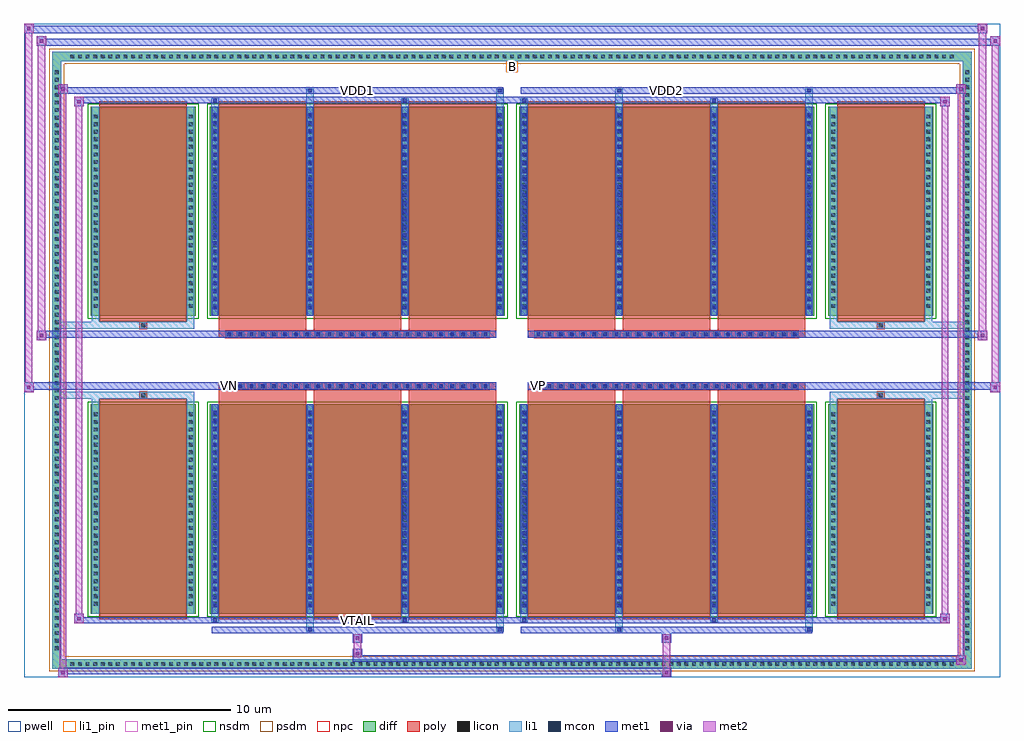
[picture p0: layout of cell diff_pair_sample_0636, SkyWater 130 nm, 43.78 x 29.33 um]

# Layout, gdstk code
import gdstk
lib = gdstk.Library(unit=1e-6, precision=5e-09)
def R(c, l, rs):  # rectangles x0, y0, x1, y1
    for r in rs: c.add(gdstk.rectangle(r[:2], r[2:], *l))
def A(c, l, x, y, w, h, nx, ny, dx, dy):  # array of equal rectangles
    R(c, l, [(x+i*dx, y+j*dy, x+i*dx+w, y+j*dy+h) for i in range(nx) for j in range(ny)])
def P(c, l, *ps):  # polygons
    for p in ps: c.add(gdstk.Polygon(p, *l))
pwell = (64, 44)
diff = (65, 20)
poly = (66, 20)
licon = (66, 44)
li1_pin = (67, 16)
li1 = (67, 20)
mcon = (67, 44)
met1_pin = (68, 16)
met1 = (68, 20)
via = (68, 44)
met2 = (69, 20)
nsdm = (93, 44)
psdm = (94, 20)
npc = (95, 20)

diff_pair_sample_0636 = lib.new_cell('diff_pair_sample_0636')
R(diff_pair_sample_0636, pwell, [(-21.89,-14.23,21.89,15.1), (-19.21,-12.42,-0.01,-0.8), (0.01,-12.42,19.21,-0.8), (-19.21,0.8,-0.01,12.42), (0.01,0.8,19.21,12.42)])
A(diff_pair_sample_0636, diff, -19.925, -13.83, 0.41, 0.41, 117, 2, 0.34, 27.25)
A(diff_pair_sample_0636, diff, -20.62, -13.125, 0.41, 0.41, 1, 77, 0, 0.34)
A(diff_pair_sample_0636, diff, 20.21, -13.125, 0.41, 0.41, 1, 77, 0, 0.34)
R(diff_pair_sample_0636, diff, [(-19.925,-13.83,19.925,-13.42), (-20.62,-13.125,-20.21,13.125), (20.21,-13.125,20.62,13.125), (-18.9,-11.375,-14.19,-1.985), (-13.55,-11.375,-0.32,-1.985), (0.32,-11.375,13.55,-1.985), (14.19,-11.375,18.9,-1.985), (-18.9,1.985,-14.19,11.375), (-13.55,1.985,-0.32,11.375), (0.32,1.985,13.55,11.375), (14.19,1.985,18.9,11.375), (-19.925,13.42,19.925,13.83)])
P(diff_pair_sample_0636, diff, [(20.62,13.83),(-20.62,13.83),(-20.62,-13.42),(-20.21,-13.42),(-20.21,13.42),(20.21,13.42),(20.21,-13.42),(-20.21,-13.42),(-20.62,-13.42),(-20.62,-13.83),(20.62,-13.83)])
A(diff_pair_sample_0636, poly, -13.16, -11.625, 3.93, 9.89, 3, 2, 4.26, 13.36)
A(diff_pair_sample_0636, poly, 0.71, -11.625, 3.93, 9.89, 3, 2, 4.26, 13.36)
A(diff_pair_sample_0636, poly, -13.16, -1.735, 3.93, 0.405, 3, 2, 4.26, 3.065)
A(diff_pair_sample_0636, poly, 0.71, -1.735, 3.93, 0.405, 3, 2, 4.26, 3.065)
A(diff_pair_sample_0636, poly, -12.85, -1.33, 0.33, 0.33, 24, 2, 0.5, 2.33)
A(diff_pair_sample_0636, poly, 1.02, -1.33, 0.33, 0.33, 24, 2, 0.5, 2.33)
R(diff_pair_sample_0636, poly, [(-18.51,-11.625,-14.58,-1.735), (14.58,-11.625,18.51,-1.735), (-16.71,-1.735,-16.38,-1.405), (-16.71,-1.735,-16.38,-1.405), (16.38,-1.735,16.71,-1.405), (16.38,-1.735,16.71,-1.405), (-13.16,-1.33,-0.71,-1), (0.71,-1.33,13.16,-1), (-13.16,1,-0.71,1.33), (0.71,1,13.16,1.33), (-16.71,1.405,-16.38,1.735), (-16.71,1.405,-16.38,1.735), (16.38,1.405,16.71,1.735), (16.38,1.405,16.71,1.735), (-18.51,1.735,-14.58,11.625), (14.58,1.735,18.51,11.625)])
A(diff_pair_sample_0636, licon, -19.805, -13.71, 0.17, 0.17, 117, 2, 0.34, 27.25)
A(diff_pair_sample_0636, licon, -20.5, -13.005, 0.17, 0.17, 1, 77, 0, 0.34)
A(diff_pair_sample_0636, licon, 20.33, -13.005, 0.17, 0.17, 1, 77, 0, 0.34)
A(diff_pair_sample_0636, licon, -18.76, -11.015, 0.17, 0.17, 1, 26, 0, 0.34)
A(diff_pair_sample_0636, licon, -14.5, -11.015, 0.17, 0.17, 1, 26, 0, 0.34)
A(diff_pair_sample_0636, licon, -13.41, -11.015, 0.17, 0.17, 4, 26, 4.26, 0.34)
A(diff_pair_sample_0636, licon, 0.46, -11.015, 0.17, 0.17, 4, 26, 4.26, 0.34)
A(diff_pair_sample_0636, licon, 14.33, -11.015, 0.17, 0.17, 1, 26, 0, 0.34)
A(diff_pair_sample_0636, licon, 18.59, -11.015, 0.17, 0.17, 1, 26, 0, 0.34)
A(diff_pair_sample_0636, licon, -12.77, -1.25, 0.17, 0.17, 24, 2, 0.5, 2.33)
A(diff_pair_sample_0636, licon, 1.1, -1.25, 0.17, 0.17, 24, 2, 0.5, 2.33)
A(diff_pair_sample_0636, licon, -18.76, 2.345, 0.17, 0.17, 1, 26, 0, 0.34)
A(diff_pair_sample_0636, licon, -14.5, 2.345, 0.17, 0.17, 1, 26, 0, 0.34)
A(diff_pair_sample_0636, licon, -13.41, 2.345, 0.17, 0.17, 4, 26, 4.26, 0.34)
A(diff_pair_sample_0636, licon, 0.46, 2.345, 0.17, 0.17, 4, 26, 4.26, 0.34)
A(diff_pair_sample_0636, licon, 14.33, 2.345, 0.17, 0.17, 1, 26, 0, 0.34)
A(diff_pair_sample_0636, licon, 18.59, 2.345, 0.17, 0.17, 1, 26, 0, 0.34)
R(diff_pair_sample_0636, licon, [(-16.63,-1.655,-16.46,-1.485), (16.46,-1.655,16.63,-1.485), (-16.63,1.485,-16.46,1.655), (16.46,1.485,16.63,1.655)])
R(diff_pair_sample_0636, li1_pin, [(-0.25,12.92,0.25,13.42)])
A(diff_pair_sample_0636, li1, -19.885, -13.79, 0.33, 0.33, 117, 2, 0.34, 27.25)
A(diff_pair_sample_0636, li1, -20.58, -13.085, 0.33, 0.33, 1, 77, 0, 0.34)
A(diff_pair_sample_0636, li1, 20.25, -13.085, 0.33, 0.33, 1, 77, 0, 0.34)
A(diff_pair_sample_0636, li1, -13.49, -11.375, 0.33, 9.39, 4, 2, 4.26, 13.36)
A(diff_pair_sample_0636, li1, 0.38, -11.375, 0.33, 9.39, 4, 2, 4.26, 13.36)
A(diff_pair_sample_0636, li1, -18.84, -11.095, 0.33, 0.33, 1, 26, 0, 0.34)
A(diff_pair_sample_0636, li1, -14.58, -11.095, 0.33, 0.33, 1, 26, 0, 0.34)
A(diff_pair_sample_0636, li1, -13.49, -11.095, 0.33, 0.33, 4, 26, 4.26, 0.34)
A(diff_pair_sample_0636, li1, 0.38, -11.095, 0.33, 0.33, 4, 26, 4.26, 0.34)
A(diff_pair_sample_0636, li1, 14.25, -11.095, 0.33, 0.33, 1, 26, 0, 0.34)
A(diff_pair_sample_0636, li1, 18.51, -11.095, 0.33, 0.33, 1, 26, 0, 0.34)
A(diff_pair_sample_0636, li1, -13.41, -11.085, 0.17, 0.17, 4, 25, 4.26, 0.36)
A(diff_pair_sample_0636, li1, -13.41, -11.085, 0.17, 8.81, 4, 2, 4.26, 13.36)
A(diff_pair_sample_0636, li1, 0.46, -11.085, 0.17, 0.17, 4, 25, 4.26, 0.36)
A(diff_pair_sample_0636, li1, 0.46, -11.085, 0.17, 8.81, 4, 2, 4.26, 13.36)
A(diff_pair_sample_0636, li1, -12.85, -1.33, 0.33, 0.33, 24, 2, 0.5, 2.33)
A(diff_pair_sample_0636, li1, 1.02, -1.33, 0.33, 0.33, 24, 2, 0.5, 2.33)
A(diff_pair_sample_0636, li1, -18.84, 2.265, 0.33, 0.33, 1, 26, 0, 0.34)
A(diff_pair_sample_0636, li1, -14.58, 2.265, 0.33, 0.33, 1, 26, 0, 0.34)
A(diff_pair_sample_0636, li1, -13.49, 2.265, 0.33, 0.33, 4, 26, 4.26, 0.34)
A(diff_pair_sample_0636, li1, 0.38, 2.265, 0.33, 0.33, 4, 26, 4.26, 0.34)
A(diff_pair_sample_0636, li1, 14.25, 2.265, 0.33, 0.33, 1, 26, 0, 0.34)
A(diff_pair_sample_0636, li1, 18.51, 2.265, 0.33, 0.33, 1, 26, 0, 0.34)
A(diff_pair_sample_0636, li1, -13.41, 2.275, 0.17, 0.17, 4, 25, 4.26, 0.36)
A(diff_pair_sample_0636, li1, 0.46, 2.275, 0.17, 0.17, 4, 25, 4.26, 0.36)
R(diff_pair_sample_0636, li1, [(-20.62,-13.83,-20.21,-13.42), (-20.62,-13.83,-20.21,-13.42), (-20.21,-13.83,20.21,-13.42), (20.21,-13.83,20.62,-13.42), (20.21,-13.83,20.62,-13.42), (-20.62,-13.42,-20.21,13.42), (20.21,-13.42,20.62,13.42), (-9.23,-12.18,-8.9,-11.375), (-9.15,-12.18,-8.98,-12.01), (-0.71,-12.18,-0.38,-11.375), (-0.63,-12.18,-0.46,-12.01), (4.64,-12.18,4.97,-11.375), (4.72,-12.18,4.89,-12.01), (13.16,-12.18,13.49,-11.375), (13.24,-12.18,13.41,-12.01), (-13.49,-11.75,-13.16,-11.375), (-13.41,-11.75,-13.24,-11.58), (-4.97,-11.75,-4.64,-11.375), (-4.89,-11.75,-4.72,-11.58), (0.38,-11.75,0.71,-11.375), (0.46,-11.75,0.63,-11.58), (8.9,-11.75,9.23,-11.375), (8.98,-11.75,9.15,-11.58), (-18.84,-11.375,-18.51,-1.985), (-14.58,-11.375,-14.25,-1.985), (14.25,-11.375,14.58,-1.985), (18.51,-11.375,18.84,-1.985), (-18.84,-1.985,-18.51,-1.405), (-14.58,-1.985,-14.25,-1.405), (14.25,-1.985,14.58,-1.405), (18.51,-1.985,18.84,-1.405), (-20.62,-1.735,-16.71,-1.405), (-18.84,-1.735,-16.71,-1.405), (-16.71,-1.735,-16.38,-1.405), (-16.38,-1.735,-14.25,-1.405), (14.25,-1.735,16.38,-1.405), (16.38,-1.735,16.71,-1.405), (16.38,-1.735,20.62,-1.405), (16.71,-1.735,18.84,-1.405), (-20.62,1.405,-16.71,1.735), (-18.84,1.405,-16.71,1.735), (-18.84,1.405,-18.51,1.985), (-16.71,1.405,-16.38,1.735), (-16.38,1.405,-14.25,1.735), (-14.58,1.405,-14.25,1.985), (14.25,1.405,16.38,1.735), (14.25,1.405,14.58,1.985), (16.38,1.405,16.71,1.735), (16.38,1.405,20.62,1.735), (16.71,1.405,18.84,1.735), (18.51,1.405,18.84,1.985), (-18.84,1.985,-18.51,11.375), (-14.58,1.985,-14.25,11.375), (14.25,1.985,14.58,11.375), (18.51,1.985,18.84,11.375), (-13.49,11.375,-13.16,11.75), (-9.23,11.375,-8.9,12.18), (-4.97,11.375,-4.64,11.75), (-0.71,11.375,-0.38,12.18), (0.38,11.375,0.71,11.75), (4.64,11.375,4.97,12.18), (8.9,11.375,9.23,11.75), (13.16,11.375,13.49,12.18), (-13.41,11.58,-13.24,11.75), (-4.89,11.58,-4.72,11.75), (0.46,11.58,0.63,11.75), (8.98,11.58,9.15,11.75), (-9.15,12.01,-8.98,12.18), (-0.63,12.01,-0.46,12.18), (4.72,12.01,4.89,12.18), (13.24,12.01,13.41,12.18), (-20.62,13.42,-20.21,13.83), (-20.62,13.42,-20.21,13.83), (-20.21,13.42,20.21,13.83), (20.21,13.42,20.62,13.83), (20.21,13.42,20.62,13.83)])
A(diff_pair_sample_0636, mcon, -13.41, -11.085, 0.17, 0.17, 4, 25, 4.26, 0.36)
A(diff_pair_sample_0636, mcon, 0.46, -11.085, 0.17, 0.17, 4, 25, 4.26, 0.36)
A(diff_pair_sample_0636, mcon, -12.77, -1.25, 0.17, 0.17, 24, 2, 0.5, 2.33)
A(diff_pair_sample_0636, mcon, 1.1, -1.25, 0.17, 0.17, 24, 2, 0.5, 2.33)
A(diff_pair_sample_0636, mcon, -13.41, 2.275, 0.17, 0.17, 4, 25, 4.26, 0.36)
A(diff_pair_sample_0636, mcon, 0.46, 2.275, 0.17, 0.17, 4, 25, 4.26, 0.36)
R(diff_pair_sample_0636, mcon, [(-9.15,-12.18,-8.98,-12.01), (-0.63,-12.18,-0.46,-12.01), (4.72,-12.18,4.89,-12.01), (13.24,-12.18,13.41,-12.01), (-13.41,-11.75,-13.24,-11.58), (-4.89,-11.75,-4.72,-11.58), (0.46,-11.75,0.63,-11.58), (8.98,-11.75,9.15,-11.58), (-13.41,11.58,-13.24,11.75), (-4.89,11.58,-4.72,11.75), (0.46,11.58,0.63,11.75), (8.98,11.58,9.15,11.75), (-9.15,12.01,-8.98,12.18), (-0.63,12.01,-0.46,12.18), (4.72,12.01,4.89,12.18), (13.24,12.01,13.41,12.18)])
R(diff_pair_sample_0636, met1_pin, [(-7.07,-11.79,-6.8,-11.52), (-12.82,-1.29,-12.55,-1.02), (1.05,-1.29,1.32,-1.02), (-7.07,11.97,-6.8,12.24), (6.8,11.97,7.07,12.24)])
A(diff_pair_sample_0636, met1, -13.47, -11.375, 0.29, 9.39, 4, 2, 4.26, 13.36)
A(diff_pair_sample_0636, met1, 0.4, -11.375, 0.29, 9.39, 4, 2, 4.26, 13.36)
A(diff_pair_sample_0636, met1, -13.47, -11.145, 0.29, 0.29, 4, 25, 4.26, 0.36)
A(diff_pair_sample_0636, met1, 0.4, -11.145, 0.29, 0.29, 4, 25, 4.26, 0.36)
A(diff_pair_sample_0636, met1, -12.83, -1.31, 0.29, 0.29, 24, 2, 0.5, 2.33)
A(diff_pair_sample_0636, met1, 1.04, -1.31, 0.29, 0.29, 24, 2, 0.5, 2.33)
A(diff_pair_sample_0636, met1, -13.47, 2.215, 0.29, 0.29, 4, 25, 4.26, 0.36)
A(diff_pair_sample_0636, met1, 0.4, 2.215, 0.29, 0.29, 4, 25, 4.26, 0.36)
R(diff_pair_sample_0636, met1, [(-20.35,-14.23,-19.92,-13.8), (6.72,-14.23,7.15,-13.8), (-20.35,-14.09,7.15,-13.8), (19.92,-13.66,20.35,-13.23), (-7.15,-13.52,20.35,-13.23), (-7.15,-13.38,-6.72,-12.95), (-7.15,-12.67,-6.72,-12.24), (6.72,-12.67,7.15,-12.24), (-13.47,-12.24,-0.4,-11.95), (-9.21,-12.24,-8.92,-11.95), (-0.69,-12.24,-0.4,-11.95), (0.4,-12.24,13.47,-11.95), (4.66,-12.24,4.95,-11.95), (13.18,-12.24,13.47,-11.95), (-19.64,-11.81,-19.21,-11.38), (-19.64,-11.81,-13.47,-11.52), (-13.47,-11.81,-13.18,-11.52), (-13.47,-11.81,-0.4,-11.52), (-4.95,-11.81,-4.66,-11.52), (-0.4,-11.81,0.4,-11.52), (0.4,-11.81,0.69,-11.52), (0.4,-11.81,13.47,-11.52), (8.92,-11.81,9.21,-11.52), (13.47,-11.81,19.64,-11.52), (19.21,-11.81,19.64,-11.38), (-21.89,-1.43,-21.46,-1), (21.46,-1.43,21.89,-1), (-21.89,-1.33,-0.71,-1), (-13.16,-1.33,-0.71,-1), (0.71,-1.33,13.16,-1), (0.71,-1.33,21.89,-1), (-21.32,0.9,-20.89,1.33), (20.89,0.9,21.32,1.33), (-21.32,1,-13.16,1.33), (-13.16,1,-0.71,1.33), (0.71,1,13.16,1.33), (13.16,1,21.32,1.33), (-19.64,11.38,-19.21,11.81), (19.21,11.38,19.64,11.81), (-19.64,11.52,-13.47,11.81), (-13.47,11.52,-13.18,11.81), (-13.47,11.52,-0.4,11.81), (-4.95,11.52,-4.66,11.81), (-0.4,11.52,0.4,11.81), (0.4,11.52,0.69,11.81), (0.4,11.52,13.47,11.81), (8.92,11.52,9.21,11.81), (13.47,11.52,19.64,11.81), (-20.35,11.95,-19.92,12.38), (-20.35,11.95,-13.47,12.24), (-13.47,11.95,-0.4,12.24), (-9.21,11.95,-8.92,12.24), (-0.69,11.95,-0.4,12.24), (0.4,11.95,13.47,12.24), (4.66,11.95,4.95,12.24), (13.18,11.95,13.47,12.24), (13.47,11.95,20.35,12.24), (19.92,11.95,20.35,12.38), (-21.32,14.1,-20.89,14.53), (-21.32,14.1,-19.21,14.43), (-19.21,14.1,19.21,14.43), (19.21,14.1,21.89,14.43), (21.46,14.1,21.89,14.53), (-21.89,14.67,-21.46,15.1), (-21.89,14.67,-19.21,15), (-19.21,14.67,19.21,15), (19.21,14.67,21.32,15), (20.89,14.67,21.32,15.1)])
R(diff_pair_sample_0636, via, [(-20.21,-14.09,-20.06,-13.94), (6.86,-14.09,7.01,-13.94), (20.06,-13.52,20.21,-13.37), (-7.01,-13.24,-6.86,-13.09), (-7.01,-12.53,-6.86,-12.38), (6.86,-12.53,7.01,-12.38), (-19.5,-11.67,-19.35,-11.52), (19.35,-11.67,19.5,-11.52), (-21.75,-1.29,-21.6,-1.14), (21.6,-1.29,21.75,-1.14), (-21.18,1.04,-21.03,1.19), (21.03,1.04,21.18,1.19), (-19.5,11.52,-19.35,11.67), (19.35,11.52,19.5,11.67), (-20.21,12.09,-20.06,12.24), (20.06,12.09,20.21,12.24), (-21.18,14.24,-21.03,14.39), (21.6,14.24,21.75,14.39), (-21.75,14.81,-21.6,14.96), (21.03,14.81,21.18,14.96)])
R(diff_pair_sample_0636, met2, [(-20.35,-14.23,-19.92,-13.8), (-20.28,-14.23,-19.99,12.38), (-19.99,-14.23,-19.92,-13.8), (-20.3,-14.18,-19.97,-13.85), (6.77,-14.18,7.1,-13.85), (6.77,-13.85,7.1,-12.62), (19.92,-13.66,20.35,-13.23), (19.99,-13.66,20.28,12.38), (20.28,-13.66,20.35,-13.23), (19.97,-13.61,20.3,-13.28), (-7.1,-13.33,-6.77,-13), (-7.1,-13,-6.77,-12.62), (-7.1,-12.62,-6.77,-12.29), (6.77,-12.62,7.1,-12.29), (-19.64,-11.81,-19.21,-11.38), (-19.57,-11.81,-19.28,11.81), (-19.28,-11.81,-19.21,-11.38), (19.21,-11.81,19.64,-11.38), (19.28,-11.81,19.57,11.81), (19.57,-11.81,19.64,-11.38), (-19.59,-11.76,-19.26,-11.43), (19.26,-11.76,19.59,-11.43), (-21.89,-1.43,-21.46,-1), (-21.84,-1.43,-21.51,15.1), (-21.51,-1.43,-21.46,-1), (21.46,-1.43,21.89,-1), (21.51,-1.43,21.84,14.53), (21.84,-1.43,21.89,-1), (-21.84,-1.38,-21.51,-1.05), (21.51,-1.38,21.84,-1.05), (-21.32,0.9,-20.89,1.33), (-21.27,0.9,-20.94,14.53), (-20.94,0.9,-20.89,1.33), (20.89,0.9,21.32,1.33), (20.94,0.9,21.27,15.1), (21.27,0.9,21.32,1.33), (-21.27,0.95,-20.94,1.28), (20.94,0.95,21.27,1.28), (-19.64,11.38,-19.21,11.81), (-19.28,11.38,-19.21,11.81), (19.21,11.38,19.64,11.81), (19.57,11.38,19.64,11.81), (-19.59,11.43,-19.26,11.76), (19.26,11.43,19.59,11.76), (-20.35,11.95,-19.92,12.38), (-19.99,11.95,-19.92,12.38), (19.92,11.95,20.35,12.38), (20.28,11.95,20.35,12.38), (-20.3,12,-19.97,12.33), (19.97,12,20.3,12.33), (-21.32,14.1,-20.89,14.53), (-20.94,14.1,-20.89,14.53), (21.46,14.1,21.89,14.53), (21.84,14.1,21.89,14.53), (-21.27,14.15,-20.94,14.48), (21.51,14.15,21.84,14.48), (-21.89,14.67,-21.46,15.1), (-21.51,14.67,-21.46,15.1), (20.89,14.67,21.32,15.1), (21.27,14.67,21.32,15.1), (-21.84,14.72,-21.51,15.05), (20.94,14.72,21.27,15.05)])
R(diff_pair_sample_0636, nsdm, [(-19.03,-11.505,-14.06,-1.855), (-13.68,-11.505,-0.19,-1.855), (0.19,-11.505,13.68,-1.855), (14.06,-11.505,19.03,-1.855), (-19.03,1.855,-14.06,11.505), (-13.68,1.855,-0.19,11.505), (0.19,1.855,13.68,11.505), (14.06,1.855,19.03,11.505)])
P(diff_pair_sample_0636, psdm, [(20.75,13.96),(-20.75,13.96),(-20.75,-13.29),(-20.08,-13.29),(-20.08,13.29),(20.08,13.29),(20.08,-13.29),(-20.08,-13.29),(-20.75,-13.29),(-20.75,-13.96),(20.75,-13.96)])
A(diff_pair_sample_0636, npc, -12.87, -1.35, 0.37, 0.37, 24, 2, 0.5, 2.33)
A(diff_pair_sample_0636, npc, 1, -1.35, 0.37, 0.37, 24, 2, 0.5, 2.33)
R(diff_pair_sample_0636, npc, [(-16.73,-1.755,-16.36,-1.385), (16.36,-1.755,16.73,-1.385), (-12.87,-1.35,-12,-0.98), (-12.87,-1.35,-12,-0.98), (-12.37,-1.35,-11.5,-0.98), (-12.37,-1.35,-11.5,-0.98), (-11.87,-1.35,-11,-0.98), (-11.87,-1.35,-11,-0.98), (-11.37,-1.35,-10.5,-0.98), (-11.37,-1.35,-10.5,-0.98), (-10.87,-1.35,-10,-0.98), (-10.87,-1.35,-10,-0.98), (-10.37,-1.35,-9.5,-0.98), (-10.37,-1.35,-9.5,-0.98), (-9.87,-1.35,-9,-0.98), (-9.87,-1.35,-9,-0.98), (-9.37,-1.35,-8.5,-0.98), (-9.37,-1.35,-8.5,-0.98), (-8.87,-1.35,-8,-0.98), (-8.87,-1.35,-8,-0.98), (-8.37,-1.35,-7.5,-0.98), (-8.37,-1.35,-7.5,-0.98), (-7.87,-1.35,-7,-0.98), (-7.87,-1.35,-7,-0.98), (-7.37,-1.35,-6.5,-0.98), (-7.37,-1.35,-6.5,-0.98), (-6.87,-1.35,-6,-0.98), (-6.87,-1.35,-6,-0.98), (-6.37,-1.35,-5.5,-0.98), (-6.37,-1.35,-5.5,-0.98), (-5.87,-1.35,-5,-0.98), (-5.87,-1.35,-5,-0.98), (-5.37,-1.35,-4.5,-0.98), (-5.37,-1.35,-4.5,-0.98), (-4.87,-1.35,-4,-0.98), (-4.87,-1.35,-4,-0.98), (-4.37,-1.35,-3.5,-0.98), (-4.37,-1.35,-3.5,-0.98), (-3.87,-1.35,-3,-0.98), (-3.87,-1.35,-3,-0.98), (-3.37,-1.35,-2.5,-0.98), (-3.37,-1.35,-2.5,-0.98), (-2.87,-1.35,-2,-0.98), (-2.87,-1.35,-2,-0.98), (-2.37,-1.35,-1.5,-0.98), (-2.37,-1.35,-1.5,-0.98), (-1.87,-1.35,-1,-0.98), (-1.87,-1.35,-1,-0.98), (1,-1.35,1.87,-0.98), (1,-1.35,1.87,-0.98), (1.5,-1.35,2.37,-0.98), (1.5,-1.35,2.37,-0.98), (2,-1.35,2.87,-0.98), (2,-1.35,2.87,-0.98), (2.5,-1.35,3.37,-0.98), (2.5,-1.35,3.37,-0.98), (3,-1.35,3.87,-0.98), (3,-1.35,3.87,-0.98), (3.5,-1.35,4.37,-0.98), (3.5,-1.35,4.37,-0.98), (4,-1.35,4.87,-0.98), (4,-1.35,4.87,-0.98), (4.5,-1.35,5.37,-0.98), (4.5,-1.35,5.37,-0.98), (5,-1.35,5.87,-0.98), (5,-1.35,5.87,-0.98), (5.5,-1.35,6.37,-0.98), (5.5,-1.35,6.37,-0.98), (6,-1.35,6.87,-0.98), (6,-1.35,6.87,-0.98), (6.5,-1.35,7.37,-0.98), (6.5,-1.35,7.37,-0.98), (7,-1.35,7.87,-0.98), (7,-1.35,7.87,-0.98), (7.5,-1.35,8.37,-0.98), (7.5,-1.35,8.37,-0.98), (8,-1.35,8.87,-0.98), (8,-1.35,8.87,-0.98), (8.5,-1.35,9.37,-0.98), (8.5,-1.35,9.37,-0.98), (9,-1.35,9.87,-0.98), (9,-1.35,9.87,-0.98), (9.5,-1.35,10.37,-0.98), (9.5,-1.35,10.37,-0.98), (10,-1.35,10.87,-0.98), (10,-1.35,10.87,-0.98), (10.5,-1.35,11.37,-0.98), (10.5,-1.35,11.37,-0.98), (11,-1.35,11.87,-0.98), (11,-1.35,11.87,-0.98), (11.5,-1.35,12.37,-0.98), (11.5,-1.35,12.37,-0.98), (12,-1.35,12.87,-0.98), (12,-1.35,12.87,-0.98), (-12.87,0.98,-12,1.35), (-12.87,0.98,-12,1.35), (-12.37,0.98,-11.5,1.35), (-12.37,0.98,-11.5,1.35), (-11.87,0.98,-11,1.35), (-11.87,0.98,-11,1.35), (-11.37,0.98,-10.5,1.35), (-11.37,0.98,-10.5,1.35), (-10.87,0.98,-10,1.35), (-10.87,0.98,-10,1.35), (-10.37,0.98,-9.5,1.35), (-10.37,0.98,-9.5,1.35), (-9.87,0.98,-9,1.35), (-9.87,0.98,-9,1.35), (-9.37,0.98,-8.5,1.35), (-9.37,0.98,-8.5,1.35), (-8.87,0.98,-8,1.35), (-8.87,0.98,-8,1.35), (-8.37,0.98,-7.5,1.35), (-8.37,0.98,-7.5,1.35), (-7.87,0.98,-7,1.35), (-7.87,0.98,-7,1.35), (-7.37,0.98,-6.5,1.35), (-7.37,0.98,-6.5,1.35), (-6.87,0.98,-6,1.35), (-6.87,0.98,-6,1.35), (-6.37,0.98,-5.5,1.35), (-6.37,0.98,-5.5,1.35), (-5.87,0.98,-5,1.35), (-5.87,0.98,-5,1.35), (-5.37,0.98,-4.5,1.35), (-5.37,0.98,-4.5,1.35), (-4.87,0.98,-4,1.35), (-4.87,0.98,-4,1.35), (-4.37,0.98,-3.5,1.35), (-4.37,0.98,-3.5,1.35), (-3.87,0.98,-3,1.35), (-3.87,0.98,-3,1.35), (-3.37,0.98,-2.5,1.35), (-3.37,0.98,-2.5,1.35), (-2.87,0.98,-2,1.35), (-2.87,0.98,-2,1.35), (-2.37,0.98,-1.5,1.35), (-2.37,0.98,-1.5,1.35), (-1.87,0.98,-1,1.35), (-1.87,0.98,-1,1.35), (1,0.98,1.87,1.35), (1,0.98,1.87,1.35), (1.5,0.98,2.37,1.35), (1.5,0.98,2.37,1.35), (2,0.98,2.87,1.35), (2,0.98,2.87,1.35), (2.5,0.98,3.37,1.35), (2.5,0.98,3.37,1.35), (3,0.98,3.87,1.35), (3,0.98,3.87,1.35), (3.5,0.98,4.37,1.35), (3.5,0.98,4.37,1.35), (4,0.98,4.87,1.35), (4,0.98,4.87,1.35), (4.5,0.98,5.37,1.35), (4.5,0.98,5.37,1.35), (5,0.98,5.87,1.35), (5,0.98,5.87,1.35), (5.5,0.98,6.37,1.35), (5.5,0.98,6.37,1.35), (6,0.98,6.87,1.35), (6,0.98,6.87,1.35), (6.5,0.98,7.37,1.35), (6.5,0.98,7.37,1.35), (7,0.98,7.87,1.35), (7,0.98,7.87,1.35), (7.5,0.98,8.37,1.35), (7.5,0.98,8.37,1.35), (8,0.98,8.87,1.35), (8,0.98,8.87,1.35), (8.5,0.98,9.37,1.35), (8.5,0.98,9.37,1.35), (9,0.98,9.87,1.35), (9,0.98,9.87,1.35), (9.5,0.98,10.37,1.35), (9.5,0.98,10.37,1.35), (10,0.98,10.87,1.35), (10,0.98,10.87,1.35), (10.5,0.98,11.37,1.35), (10.5,0.98,11.37,1.35), (11,0.98,11.87,1.35), (11,0.98,11.87,1.35), (11.5,0.98,12.37,1.35), (11.5,0.98,12.37,1.35), (12,0.98,12.87,1.35), (12,0.98,12.87,1.35), (-16.73,1.385,-16.36,1.755), (16.36,1.385,16.73,1.755)])
diff_pair_sample_0636.add(gdstk.Label('VTAIL', (-6.935,-11.655), layer=68, texttype=5))
diff_pair_sample_0636.add(gdstk.Label('VN', (-12.685,-1.155), layer=68, texttype=5))
diff_pair_sample_0636.add(gdstk.Label('VP', (1.185,-1.155), layer=68, texttype=5))
diff_pair_sample_0636.add(gdstk.Label('B', (0,13.17), layer=67, texttype=5))
diff_pair_sample_0636.add(gdstk.Label('VDD2', (6.935,12.105), layer=68, texttype=5))
diff_pair_sample_0636.add(gdstk.Label('VDD1', (-6.935,12.105), layer=68, texttype=5))

lib.write_gds('diff_pair_sample_0636.gds')
